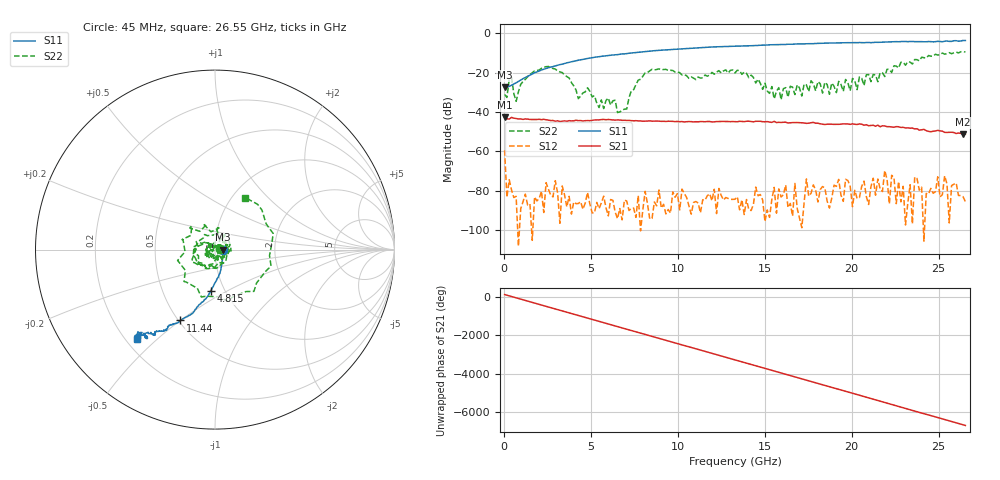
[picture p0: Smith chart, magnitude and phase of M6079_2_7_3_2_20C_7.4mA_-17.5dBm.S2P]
!  2-Port S-parameters saved by WinCal
! VAR MeasName=S-Parameters (CALIBRATED_DATA) read from VNA (C)
! VAR MeasDate=10/5/2015 6:10:06 PM
! VAR NAME=M6079_2_7_3_2_20C_7.4mA_-17.5dBm
! VAR FILENAME=M6079_2_7_3_2_20C_7.4mA_-17.5dBm.S2P
! VAR DATE=10/5/2015 6:10:06 PM
! VAR PHYS_PORTS=2,1
! VAR ObjTypeName=DATASET
! VAR IndexType=Frequency
# Hz S RI R 50
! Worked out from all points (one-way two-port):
!   201 points, 45 MHz to 26.55 GHz, reference 50 ohm
!   highest |S21| = -42.61 dB at 45 MHz (marker M1); lowest = -51.4 dB at 26.41 GHz (marker M2)
!   lowest |S11| = -27.4 dB at 45 MHz (marker M3), VSWR 1.09, Z = 54.4 - j0.0295 ohm
!   |S11| at or under -10 dB: start of sweep to 7.28 GHz
!   |S22| runs from -40.2 to -9.2 dB; largest |S21 - S12| = 0.0072
!   S11 on the Smith chart (normalised r, x): 45 MHz: 1.09, -0.00; 4.815 GHz: 0.86, -0.42; 11.44 GHz: 0.51, -0.50; 26.55 GHz: 0.25, -0.43
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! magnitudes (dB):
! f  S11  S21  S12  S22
! 45 MHz  -27.4  -42.6  -59.3  -31.0
! 177.5 MHz  -27.2  -43.4  -83.4  -32.5
! 442.5 MHz  -26.4  -42.7  -79.5  -22.4
! 707.5 MHz  -25.1  -43.2  -82.8  -34.5
! 2.562 GHz  -17.4  -44.2  -79.1  -16.8
! 4.55 GHz  -13.2  -44.5  -89.4  -30.3
! 4.815 GHz  -12.7  -44.3  -80.8  -27.6
! 6.537 GHz  -10.8  -44.0  -94.2  -40.2
! 8.922 GHz  -8.6  -44.6  -79.6  -18.0
! 11.44 GHz  -7.1  -44.8  -84.5  -22.6
! 13.29 GHz  -6.5  -44.8  -84.3  -20.0
! 15.55 GHz  -5.7  -44.7  -78.3  -33.3
! 17.8 GHz  -5.2  -45.2  -77.0  -25.5
! 21.77 GHz  -4.4  -46.9  -80.3  -20.0
! 21.91 GHz  -4.4  -47.0  -69.7  -21.9
! 22.17 GHz  -4.3  -47.4  -86.6  -18.3
! 22.3 GHz  -4.3  -47.5  -72.1  -19.9
! 22.57 GHz  -4.2  -47.4  -86.5  -16.6
! 25.22 GHz  -4.2  -49.7  -82.0  -10.0
! 25.35 GHz  -4.0  -50.3  -72.4  -10.5
! 26.41 GHz  -3.6  -51.4  -83.0  -9.2
! 26.55 GHz  -3.6  -51.2  -85.5  -9.5
